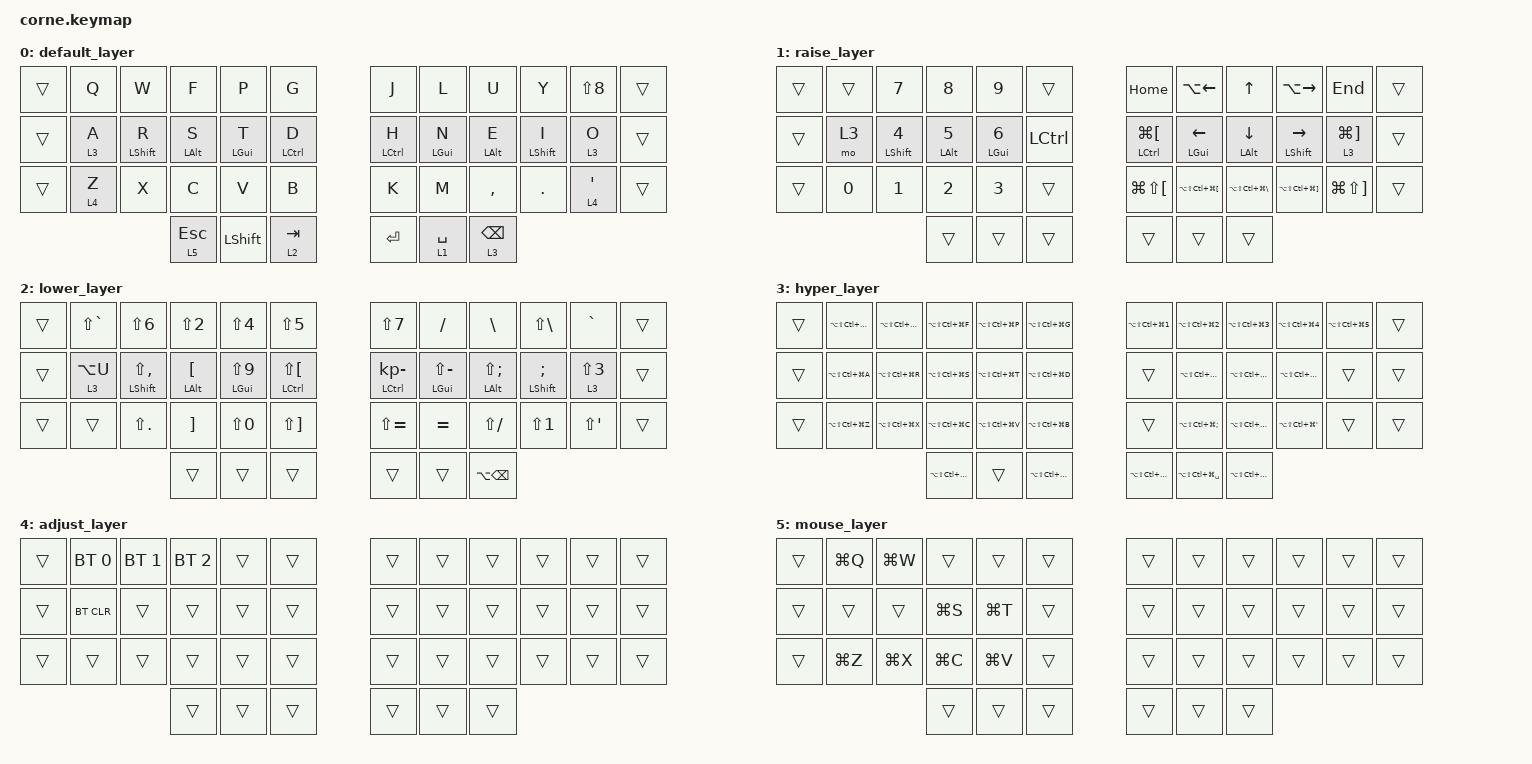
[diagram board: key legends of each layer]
// This file is automatically generated from keymap.txt
#include <behaviors.dtsi>
#include <dt-bindings/zmk/keys.h>
#include <dt-bindings/zmk/bt.h>

/ {
    // The hold-tap behaviors the keymap may use, named `<kind>_<flavor>`:
    // - mt_  holds a modifier, taps a key
    // - lt_  holds a layer, taps a key
    // - smt_ holds a modifier, sticks it on tap
    // - slt_ holds a layer, sticks it on tap
    // The flavor suffix is one of tp (tap-preferred), hp (hold-preferred),
    // bal (balanced) or tui (tap-unless-interrupted). generate_keymap.py picks
    // the behavior matching each key, defaulting to mt_tp for modifier holds
    // and lt_bal for layer holds.
    behaviors {
        mt_tp: mod_tap_tap_preferred {
            compatible = "zmk,behavior-hold-tap";
            label = "MOD_TAP_TP";
            #binding-cells = <2>;
            flavor = "tap-preferred";
            tapping-term-ms = <200>;
            bindings = <&kp>, <&kp>;
        };
        mt_hp: mod_tap_hold_preferred {
            compatible = "zmk,behavior-hold-tap";
            label = "MOD_TAP_HP";
            #binding-cells = <2>;
            flavor = "hold-preferred";
            tapping-term-ms = <200>;
            bindings = <&kp>, <&kp>;
        };
        mt_bal: mod_tap_balanced {
            compatible = "zmk,behavior-hold-tap";
            label = "MOD_TAP_BAL";
            #binding-cells = <2>;
            flavor = "balanced";
            tapping-term-ms = <200>;
            bindings = <&kp>, <&kp>;
        };
        mt_tui: mod_tap_tap_unless_interrupted {
            compatible = "zmk,behavior-hold-tap";
            label = "MOD_TAP_TUI";
            #binding-cells = <2>;
            flavor = "tap-unless-interrupted";
            tapping-term-ms = <200>;
            bindings = <&kp>, <&kp>;
        };

        lt_tp: layer_tap_tap_preferred {
            compatible = "zmk,behavior-hold-tap";
            label = "LAYER_TAP_TP";
            #binding-cells = <2>;
            flavor = "tap-preferred";
            tapping-term-ms = <200>;
            bindings = <&mo>, <&kp>;
        };
        lt_hp: layer_tap_hold_preferred {
            compatible = "zmk,behavior-hold-tap";
            label = "LAYER_TAP_HP";
            #binding-cells = <2>;
            flavor = "hold-preferred";
            tapping-term-ms = <200>;
            bindings = <&mo>, <&kp>;
        };
        lt_bal: layer_tap_balanced {
            compatible = "zmk,behavior-hold-tap";
            label = "LAYER_TAP_BAL";
            #binding-cells = <2>;
            flavor = "balanced";
            tapping-term-ms = <200>;
            bindings = <&mo>, <&kp>;
        };
        lt_tui: layer_tap_tap_unless_interrupted {
            compatible = "zmk,behavior-hold-tap";
            label = "LAYER_TAP_TUI";
            #binding-cells = <2>;
            flavor = "tap-unless-interrupted";
            tapping-term-ms = <200>;
            bindings = <&mo>, <&kp>;
        };

        smt_tp: sticky_mod_tap_tap_preferred {
            compatible = "zmk,behavior-hold-tap";
            label = "STICKY_MOD_TAP_TP";
            #binding-cells = <2>;
            flavor = "tap-preferred";
            tapping-term-ms = <200>;
            bindings = <&kp>, <&sk>;
        };
        smt_hp: sticky_mod_tap_hold_preferred {
            compatible = "zmk,behavior-hold-tap";
            label = "STICKY_MOD_TAP_HP";
            #binding-cells = <2>;
            flavor = "hold-preferred";
            tapping-term-ms = <200>;
            bindings = <&kp>, <&sk>;
        };
        smt_bal: sticky_mod_tap_balanced {
            compatible = "zmk,behavior-hold-tap";
            label = "STICKY_MOD_TAP_BAL";
            #binding-cells = <2>;
            flavor = "balanced";
            tapping-term-ms = <200>;
            bindings = <&kp>, <&sk>;
        };
        smt_tui: sticky_mod_tap_tap_unless_interrupted {
            compatible = "zmk,behavior-hold-tap";
            label = "STICKY_MOD_TAP_TUI";
            #binding-cells = <2>;
            flavor = "tap-unless-interrupted";
            tapping-term-ms = <200>;
            bindings = <&kp>, <&sk>;
        };

        slt_tp: sticky_layer_tap_tap_preferred {
            compatible = "zmk,behavior-hold-tap";
            label = "STICKY_LAYER_TAP_TP";
            #binding-cells = <2>;
            flavor = "tap-preferred";
            tapping-term-ms = <200>;
            bindings = <&mo>, <&sl>;
        };
        slt_hp: sticky_layer_tap_hold_preferred {
            compatible = "zmk,behavior-hold-tap";
            label = "STICKY_LAYER_TAP_HP";
            #binding-cells = <2>;
            flavor = "hold-preferred";
            tapping-term-ms = <200>;
            bindings = <&mo>, <&sl>;
        };
        slt_bal: sticky_layer_tap_balanced {
            compatible = "zmk,behavior-hold-tap";
            label = "STICKY_LAYER_TAP_BAL";
            #binding-cells = <2>;
            flavor = "balanced";
            tapping-term-ms = <200>;
            bindings = <&mo>, <&sl>;
        };
        slt_tui: sticky_layer_tap_tap_unless_interrupted {
            compatible = "zmk,behavior-hold-tap";
            label = "STICKY_LAYER_TAP_TUI";
            #binding-cells = <2>;
            flavor = "tap-unless-interrupted";
            tapping-term-ms = <200>;
            bindings = <&mo>, <&sl>;
        };
    };

    keymap {
            compatible = "zmk,keymap";

            default_layer {
                    bindings = <
&trans &kp Q &kp W &kp F &kp P &kp G &kp J &kp L &kp U &kp Y &kp LS(N8) &trans
&trans &lt_bal 3 A &mt_tp LSHFT R &mt_tp LALT S &mt_tp LGUI T &mt_tp LCTRL D &mt_tp LCTRL H &mt_tp LGUI N &mt_tp LALT E &mt_tp LSHFT I &lt_bal 3 O &trans
&trans &lt_bal 4 Z &kp X &kp C &kp V &kp B &kp K &kp M &kp COMMA &kp DOT &lt_bal 4 SQT &trans
&lt_bal 5 ESC &kp LSHFT &lt_bal 2 TAB &kp RET &lt_bal 1 SPC &lt_bal 3 BKSP
                    >;
            };

            raise_layer {
                    bindings = <
&trans &trans &kp N7 &kp N8 &kp N9 &trans &kp HOME &kp LA(LEFT) &kp UP &kp LA(RIGHT) &kp END &trans
&trans &mo 3 &mt_tp LSHFT N4 &mt_tp LALT N5 &mt_tp LGUI N6 &kp LCTRL &mt_tp LCTRL LG(LBKT) &mt_tp LGUI LEFT &mt_tp LALT DOWN &mt_tp LSHFT RIGHT &lt_bal 3 LG(RBKT) &trans
&trans &kp N0 &kp N1 &kp N2 &kp N3 &trans &kp LG(LS(LBKT)) &kp LA(LS(LC(LG(LBKT)))) &kp LA(LS(LC(LG(BSLH)))) &kp LA(LS(LC(LG(RBKT)))) &kp LG(LS(RBKT)) &trans
&trans &trans &trans &trans &trans &trans
                    >;
            };

            lower_layer {
                    bindings = <
&trans &kp LS(GRAVE) &kp LS(N6) &kp LS(N2) &kp LS(N4) &kp LS(N5) &kp LS(N7) &kp FSLH &kp BSLH &kp LS(BSLH) &kp GRAVE &trans
&trans &lt_bal 3 LA(U) &mt_tp LSHFT LS(COMMA) &mt_tp LALT LBKT &mt_tp LGUI LS(N9) &mt_tp LCTRL LS(LBKT) &mt_tp LCTRL KP_MINUS &mt_tp LGUI LS(MINUS) &mt_tp LALT LS(SEMI) &mt_tp LSHFT SEMI &lt_bal 3 LS(N3) &trans
&trans &trans &kp LS(DOT) &kp RBKT &kp LS(N0) &kp LS(RBKT) &kp LS(EQUAL) &kp EQUAL &kp LS(FSLH) &kp LS(N1) &kp LS(SQT) &trans
&trans &trans &trans &trans &trans &kp LA(BKSP)
                    >;
            };

            hyper_layer {
                    bindings = <
&trans &kp LA(LS(LC(LG(Q)))) &kp LA(LS(LC(LG(W)))) &kp LA(LS(LC(LG(F)))) &kp LA(LS(LC(LG(P)))) &kp LA(LS(LC(LG(G)))) &kp LA(LS(LC(LG(N1)))) &kp LA(LS(LC(LG(N2)))) &kp LA(LS(LC(LG(N3)))) &kp LA(LS(LC(LG(N4)))) &kp LA(LS(LC(LG(N5)))) &trans
&trans &kp LA(LS(LC(LG(A)))) &kp LA(LS(LC(LG(R)))) &kp LA(LS(LC(LG(S)))) &kp LA(LS(LC(LG(T)))) &kp LA(LS(LC(LG(D)))) &trans &kp LA(LS(LC(LG(LEFT)))) &kp LA(LS(LC(LG(UP)))) &kp LA(LS(LC(LG(RIGHT)))) &trans &trans
&trans &kp LA(LS(LC(LG(Z)))) &kp LA(LS(LC(LG(X)))) &kp LA(LS(LC(LG(C)))) &kp LA(LS(LC(LG(V)))) &kp LA(LS(LC(LG(B)))) &trans &kp LA(LS(LC(LG(SEMI)))) &kp LA(LS(LC(LG(DOWN)))) &kp LA(LS(LC(LG(SQT)))) &trans &trans
&kp LA(LS(LC(LG(ESC)))) &trans &kp LA(LS(LC(LG(TAB)))) &kp LA(LS(LC(LG(RET)))) &kp LA(LS(LC(LG(SPC)))) &kp LA(LS(LC(LG(BKSP))))
                    >;
            };

            adjust_layer {
                    bindings = <
&trans &bt BT_SEL 0 &bt BT_SEL 1 &bt BT_SEL 2 &trans &trans &trans &trans &trans &trans &trans &trans
&trans &bt BT_CLR &trans &trans &trans &trans &trans &trans &trans &trans &trans &trans
&trans &trans &trans &trans &trans &trans &trans &trans &trans &trans &trans &trans
&trans &trans &trans &trans &trans &trans
                    >;
            };

            mouse_layer {
                    bindings = <
&trans &kp LG(Q) &kp LG(W) &trans &trans &trans &trans &trans &trans &trans &trans &trans
&trans &trans &trans &kp LG(S) &kp LG(T) &trans &trans &trans &trans &trans &trans &trans
&trans &kp LG(Z) &kp LG(X) &kp LG(C) &kp LG(V) &trans &trans &trans &trans &trans &trans &trans
&trans &trans &trans &trans &trans &trans
                    >;
            };
        };
};

